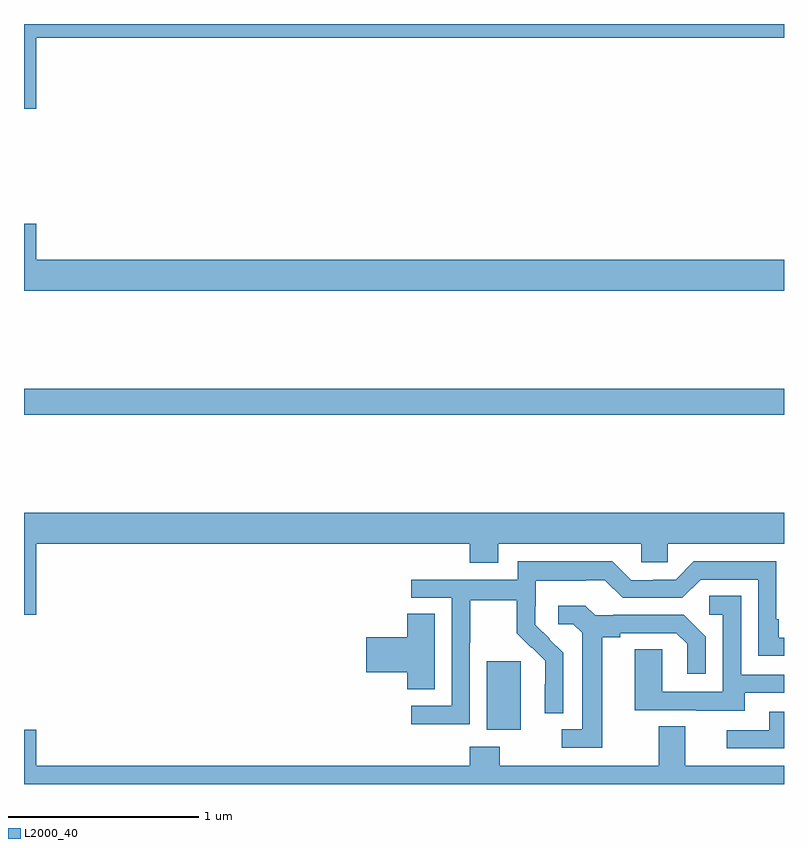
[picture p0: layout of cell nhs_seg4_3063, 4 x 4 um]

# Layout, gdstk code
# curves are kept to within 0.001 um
import gdstk
lib = gdstk.Library(unit=1e-6, precision=1e-09)
def R(c, l, rs):  # rectangles x0, y0, x1, y1
    for r in rs: c.add(gdstk.rectangle(r[:2], r[2:], *l))
def P(c, l, *ps):  # polygons
    for p in ps: c.add(gdstk.Polygon(p, *l))
L2000_40 = (2000, 40)

nhs_seg4_3063 = lib.new_cell('nhs_seg4_3063')
R(nhs_seg4_3063, L2000_40, [(275.435,785.186,275.614,785.547), (273,786.844,277,786.98)])
P(nhs_seg4_3063, L2000_40, [(273.064,788.828),(277,788.828),(277,788.9),(273,788.9),(273,788.454),(273.064,788.454)],
  [(277,787.66),(273.064,787.66),(273.064,787.849),(273,787.849),(273,787.496),(277,787.496)],
  [(273.064,786.164),(275.345,786.164),(275.345,786.065),(275.497,786.065),(275.497,786.164),(276.249,786.164),(276.249,786.066),(276.387,786.066),(276.387,786.164),(277,786.164),(277,786.328),(273,786.328),(273,785.79),(273.064,785.79)],
  [(275.346,785.644),(275.349,785.644),(275.349,785.868),(275.593,785.868),(275.593,785.693),(275.67,785.616),(275.673,785.619),(275.744,785.549),(275.744,785.426),(275.742,785.426),(275.742,785.272),(275.838,785.272),(275.838,785.59),(275.692,785.738),(275.692,785.835),(275.694,785.835),(275.694,785.969),(275.957,785.969),(275.957,785.973),(276.057,785.973),(276.15,785.88),(276.465,785.88),(276.561,785.976),(276.864,785.976),(276.864,785.574),(277,785.574),(277,785.67),(276.973,785.67),(276.973,785.767),(276.96,785.767),(276.96,786.072),(276.525,786.072),(276.429,785.976),(276.311,785.976),(276.311,785.973),(276.195,785.973),(276.095,786.073),(275.598,786.073),(275.598,785.976),(275.037,785.976),(275.037,785.88),(275.25,785.88),(275.25,785.313),(275.037,785.313),(275.037,785.215),(275.346,785.215)],
  [(276.793,785.379),(277,785.379),(277,785.475),(276.774,785.475),(276.774,785.891),(276.606,785.891),(276.606,785.79),(276.678,785.79),(276.678,785.385),(276.36,785.385),(276.36,785.609),(276.215,785.609),(276.215,785.289),(276.539,785.289),(276.539,785.285),(276.793,785.285)],
  [(276.043,785.672),(276.139,785.672),(276.139,785.694),(276.434,785.694),(276.491,785.637),(276.491,785.481),(276.588,785.481),(276.588,785.674),(276.472,785.79),(276.1,785.79),(276.1,785.787),(276.006,785.787),(275.954,785.839),(275.811,785.839),(275.811,785.742),(275.892,785.742),(275.939,785.695),(275.939,785.187),(275.829,785.187),(275.829,785.091),(276.043,785.091)],
  [(275.161,785.795),(275.018,785.795),(275.018,785.672),(274.8,785.672),(274.8,785.489),(275.018,785.489),(275.018,785.398),(275.161,785.398)],
  [(277,785.28),(276.923,785.28),(276.923,785.184),(276.699,785.184),(276.699,785.088),(277,785.088)],
  [(277,784.996),(276.481,784.996),(276.481,785.204),(276.341,785.204),(276.341,784.996),(275.505,784.996),(275.505,785.095),(275.345,785.095),(275.345,784.996),(273.064,784.996),(273.064,785.185),(273,785.185),(273,784.9),(277,784.9)])

lib.write_gds('nhs_seg4_3063.gds')
